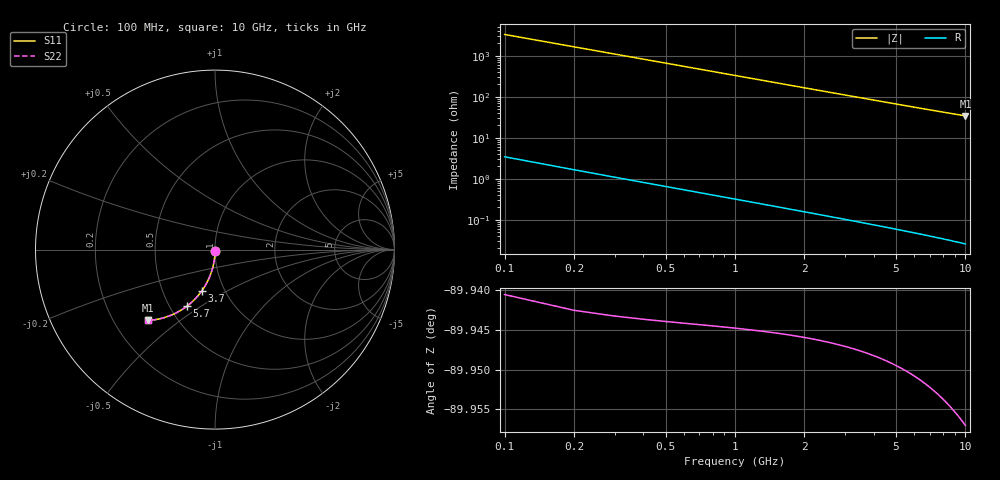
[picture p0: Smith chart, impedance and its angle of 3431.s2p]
# Hz S RI R 50.00
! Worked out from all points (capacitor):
!   100 points, 100 MHz to 10 GHz, reference 50 ohm
!   read as one part in shunt: C = 481 fF near 100 MHz
!   lowest |Z| = 34.2 ohm at 10 GHz (marker M1)
!   S11 on the Smith chart (normalised r, x): 100 MHz: 1.00, -0.01; 3.7 GHz: 0.78, -0.38; 5.7 GHz: 0.61, -0.44; 10 GHz: 0.35, -0.39
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1e8  0.00023 -0.00668  0.9996 -0.00844  0.9996 -0.00844  0.00023 -0.00668
2e8  5.61e-05 -0.0134  0.9995 -0.0169  0.9995 -0.0169  5.61e-05 -0.0134
3e8  -0.000231 -0.02  0.9992 -0.0253  0.9992 -0.0253  -0.000231 -0.02
4e8  -0.000632 -0.0267  0.9987 -0.0337  0.9987 -0.0337  -0.000632 -0.0267
5e8  -0.00114 -0.0333  0.9982 -0.0421  0.9982 -0.0421  -0.00114 -0.0333
6e8  -0.00177 -0.04  0.9976 -0.0505  0.9976 -0.0505  -0.00177 -0.04
8e8  -0.00335 -0.0532  0.9959 -0.0673  0.9959 -0.0673  -0.00335 -0.0532
9e8  -0.00431 -0.0598  0.995 -0.0757  0.995 -0.0757  -0.00431 -0.0598
1.1e9  -0.00656 -0.0729  0.9926 -0.0923  0.9926 -0.0923  -0.00656 -0.0729
1.4e9  -0.0107 -0.0924  0.9883 -0.1171  0.9883 -0.1171  -0.0107 -0.0924
1.8e9  -0.0178 -0.1179  0.9811 -0.1496  0.9811 -0.1496  -0.0178 -0.1179
2.1e9  -0.0242 -0.1366  0.9745 -0.1736  0.9745 -0.1736  -0.0242 -0.1366
2.5e9  -0.0341 -0.1609  0.9643 -0.205  0.9643 -0.205  -0.0341 -0.1609
2.9e9  -0.0454 -0.1843  0.9526 -0.2354  0.9526 -0.2354  -0.0454 -0.1843
3.4e9  -0.0616 -0.2121  0.936 -0.2721  0.936 -0.2721  -0.0616 -0.2121
3.7e9  -0.0722 -0.2279  0.925 -0.2934  0.925 -0.2934  -0.0722 -0.2279
4.4e9  -0.0995 -0.2623  0.8968 -0.3403  0.8968 -0.3403  -0.0995 -0.2623
5.1e9  -0.1297 -0.2928  0.8655 -0.3833  0.8655 -0.3833  -0.1297 -0.2928
5.7e9  -0.1574 -0.3157  0.8368 -0.417  0.8368 -0.417  -0.1574 -0.3157
6.7e9  -0.2061 -0.3471  0.786 -0.4666  0.786 -0.4666  -0.2061 -0.3471
8.4e9  -0.292 -0.3815  0.6959 -0.5322  0.6959 -0.5322  -0.292 -0.3815
1e10  -0.3712 -0.3944  0.6116 -0.5752  0.6116 -0.5752  -0.3712 -0.3944
